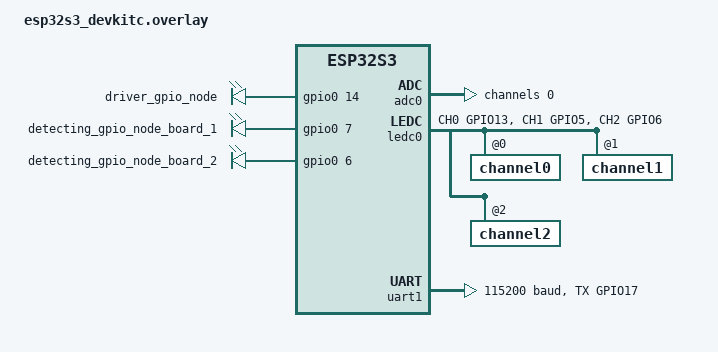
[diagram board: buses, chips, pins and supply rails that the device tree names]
// Define PWM_POLARITY_NORMAL
#include <zephyr/dt-bindings/pwm/pwm.h>
#include <dt-bindings/pinctrl/esp32s3-pinctrl.h>
// #include <zephyr/dt-bindings/gpio.h>
// #include <zephyr/dt-bindings/>

/ {
	aliases {
		my-adc = &adc0;
		my-adc-channel = &adc0_ch0;
		flash-gpio = &driver_gpio_node;
		detect-gpio-board-1 = &detecting_gpio_node_board_1;
		detect-gpio-board-2 = &detecting_gpio_node_board_2;
		uart-tx = &uart1;
	};

	gpio14-output {
		compatible = "gpio-leds";
		driver_gpio_node: driver_gpio {
			gpios = <&gpio0 14 GPIO_ACTIVE_HIGH>;
		};
	};

	gpio7_input {
		compatible = "gpio-leds";
		detecting_gpio_node_board_1: detecting_gpio_node_board_1 {
			gpios = <&gpio0 7 GPIO_ACTIVE_HIGH>;
		};
	};

	gpio6_input {
		compatible = "gpio-leds";
		detecting_gpio_node_board_2: detecting_gpio_board_2 {
			gpios = <&gpio0 6 GPIO_ACTIVE_HIGH>;
		};
	};
};

// ADC1 (adc0) channel 0 is connected to GPIO1
&adc0 {
	status = "okay";
    #address-cells = <1>;
	#size-cells = <0>;
    
	adc0_ch0: channel@0 {
		reg = <0>;
		zephyr,gain = "ADC_GAIN_1_4";
		zephyr,reference = "ADC_REF_INTERNAL";
		zephyr,vref-mv = <3900>;
		zephyr,acquisition-time = <ADC_ACQ_TIME_DEFAULT>;
		zephyr,resolution = <12>;
	};
};


// Modify ledc0 node (defined in esp32s3_common.dtsi) to connect LED PWM
// controller to pinmux group
&ledc0 {
    pinctrl-0 = <&ledctrl_0 &ledctrl_1 &ledctrl_2>;
	pinctrl-names = "default";
    status = "okay";
	#address-cells = <1>;
	#size-cells = <0>;
	
	// Configure channel 0
	channel0@0 {
	    reg = <0x0>;
		timer = <0>;
	};

	// Configure channel 1
	channel1@1 {
	    reg = <0x1>;
		timer = <0>;
	};

	// Configure channel 2
	channel2@2 {
	    reg = <0x2>;
		timer = <0>;
	};
};

&uart1 {
	pinctrl-0 = <&uart1_tx_default &uart1_rx_default>;
	pinctrl-names = "default";
	status = "okay";
	current-speed = <115200>;
	parity = "none";
	stop-bits = "1";
	data-bits = <8>;

};

// Modify pinctrl node (defined in esp32s3_common.dtsi) to assign GPIO13 to
// the LED controller channel 0
&pinctrl {
	ledctrl_0: led-0 {
		group1 {
			pinmux = <LEDC_CH0_GPIO13>;
			output-enable;
		};
	};
	ledctrl_1: led-1 {
		group1 {
			pinmux = <LEDC_CH1_GPIO5>;
			output-enable;
		};
	};
	ledctrl_2: led-2 {
		group1 {
			pinmux = <LEDC_CH2_GPIO6>;
			output-enable;
		};
	};

	uart1_tx_default: uart1-tx-default {
		group1 {
			pinmux = <UART1_TX_GPIO17>;
			bias-disable;
		};
	};

	uart1_rx_default: uart1-rx-default {
		group1 {
			pinmux = <0x2900>;
			bias-pull-up;
		};
	};

};





